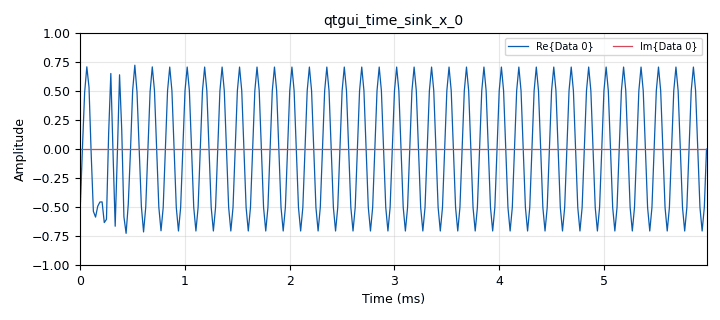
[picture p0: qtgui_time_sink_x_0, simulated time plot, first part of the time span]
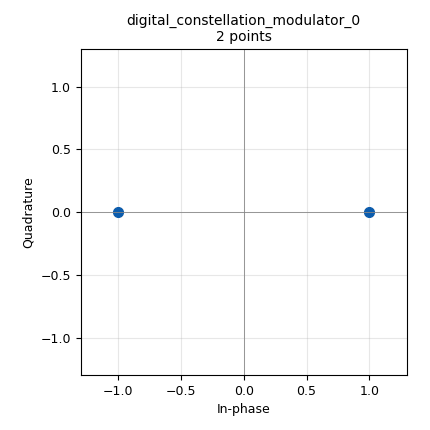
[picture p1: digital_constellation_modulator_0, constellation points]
options:
  parameters:
    author: Barry Duggan
    description: packet transmit
    generate_options: qt_gui
    id: pktxmtpduwork
    output_language: python
    title: pktxmtpduwork
  states: {}

blocks:
- name: bpsk
  id: variable_constellation
  parameters:
    precision: '8'
    type: bpsk
  states: {}
- name: excess_bw
  id: variable
  parameters:
    value: '0.35'
  states: {}
- name: rs_ratio
  id: variable
  parameters:
    value: '1.040'
  states: {}
- name: samp_rate
  id: variable
  parameters:
    value: '48000'
  states: {}
- name: sps
  id: variable
  parameters:
    value: '2'
  states: {}
- name: usrp_rate
  id: variable
  parameters:
    value: '768000'
  states: {}
- name: blocks_message_strobe_0
  id: blocks_message_strobe
  parameters:
    msg: pmt.cons(pmt.PMT_NIL,pmt.init_u8vector(9,(71,78,85,32,82,97,100,105,111)))
    period: '250'
  states: {}
- name: blocks_multiply_const_vxx_0
  id: blocks_multiply_const_vxx
  parameters:
    const: '0.5'
    type: complex
  states: {}
- name: blocks_throttle2_0
  id: blocks_throttle2
  parameters:
    samples_per_second: samp_rate
    type: complex
  states: {}
- name: digital_constellation_modulator_0
  id: digital_constellation_modulator
  parameters:
    constellation: bpsk
    differential: 'True'
    excess_bw: excess_bw
    samples_per_symbol: sps
  states: {}
- name: digital_crc32_async_bb_1
  id: digital_crc32_async_bb
  parameters:
    check: 'False'
  states: {state: disabled}
- name: digital_crc32_bb_0
  id: digital_crc32_bb
  parameters:
    check: 'False'
    lengthtagname: '"packet_len"'
    packed: 'True'
  states: {state: disabled}
- name: digital_crc_append_0
  id: digital_crc_append
  parameters:
    poly: '0x4C11DB7'
  states: {}
- name: epy_block_0
  id: epy_block
  parameters:
    _source_code: |
      """
      Embedded Python Block
      """

      import numpy as np
      from gnuradio import gr
      import pmt

      class blk(gr.sync_block):
          """Packet Format"""

          def __init__(self):
              gr.sync_block.__init__(self,
                  name = "Packet Format",
                  in_sig = None,
                  out_sig = None)
              self.message_port_register_in(pmt.intern('PDU_in'))
              self.message_port_register_out(pmt.intern('PDU_out'))
              self.set_msg_handler(pmt.intern('PDU_in'), self.handle_msg)

          def handle_msg(self, msg):
              inMsg = pmt.to_python (msg)
              pld = inMsg[1]
              # print (pld)
              mLen = len(pld)
              # print (mLen)
              if (mLen > 0):
                  char_list = [85,85,85,85,85,85,85,85,85,85,85,85,85,85,85,85,85,85,85,85,85,85,85,85,85,85,85,85,85,85,85,85,225,90,232,147]
                  char_list.append (mLen >> 8)
                  char_list.append (mLen & 255)
                  char_list.append (mLen >> 8)
                  char_list.append (mLen & 255)
                  char_list.extend (pld)
                  # print (char_list)
                  out_len = len(char_list)
                  # print (out_len)
                  self.message_port_pub(pmt.intern('PDU_out'), pmt.cons(pmt.PMT_NIL,pmt.init_u8vector(out_len,(char_list))))
  states: {}
- name: mmse_resampler_xx_0
  id: mmse_resampler_xx
  parameters:
    phase_shift: '0'
    resamp_ratio: 1.0/((usrp_rate/samp_rate)*rs_ratio)
    type: complex
  states: {}
- name: pdu_pdu_to_tagged_stream_0
  id: pdu_pdu_to_tagged_stream
  parameters:
    tag: packet_len
    type: byte
  states: {}
- name: qtgui_time_sink_x_0
  id: qtgui_time_sink_x
  parameters:
    size: '1024'
    srate: samp_rate
    tr_mode: qtgui.TRIG_MODE_TAG
    tr_tag: '"packet_len"'
    type: complex
  states: {}
- name: rational_resampler_xxx_0
  id: rational_resampler_xxx
  parameters:
    decim: '96'
    interp: '125'
    type: ccc
  states: {}
- name: soapy_hackrf_sink_0
  id: soapy_hackrf_sink
  parameters:
    center_freq: 429.22e6
    samp_rate: 1e6
    type: fc32
    vga: '45'
  states: {}
- name: virtual_sink_0
  id: virtual_sink
  parameters:
    stream_id: tx1
  states: {}
- name: virtual_source_0
  id: virtual_source
  parameters:
    stream_id: tx1
  states: {}
- name: zeromq_pub_sink_0
  id: zeromq_pub_sink
  parameters:
    address: tcp://127.0.0.1:49203
    comment: USRP sample rate = 768kHz
    timeout: '100'
    type: complex
  states: {state: disabled}

connections:
- [blocks_message_strobe_0, strobe, digital_crc32_async_bb_1, in]
- [blocks_message_strobe_0, strobe, digital_crc_append_0, in]
- [blocks_multiply_const_vxx_0, '0', mmse_resampler_xx_0, '0']
- [blocks_multiply_const_vxx_0, '0', qtgui_time_sink_x_0, '0']
- [blocks_throttle2_0, '0', blocks_multiply_const_vxx_0, '0']
- [digital_constellation_modulator_0, '0', virtual_sink_0, '0']
- [digital_crc32_async_bb_1, out, epy_block_0, PDU_in]
- [digital_crc32_bb_0, '0', digital_constellation_modulator_0, '0']
- [digital_crc_append_0, out, epy_block_0, PDU_in]
- [epy_block_0, PDU_out, pdu_pdu_to_tagged_stream_0, pdus]
- [mmse_resampler_xx_0, '0', rational_resampler_xxx_0, '0']
- [mmse_resampler_xx_0, '0', zeromq_pub_sink_0, '0']
- [pdu_pdu_to_tagged_stream_0, '0', digital_constellation_modulator_0, '0']
- [pdu_pdu_to_tagged_stream_0, '0', digital_crc32_bb_0, '0']
- [rational_resampler_xxx_0, '0', soapy_hackrf_sink_0, '0']
- [virtual_source_0, '0', blocks_throttle2_0, '0']

metadata:
  file_format: 1
  grc_version: 3.10.10.0
